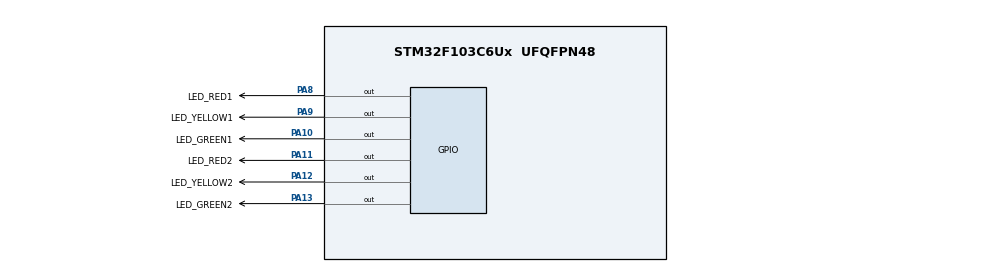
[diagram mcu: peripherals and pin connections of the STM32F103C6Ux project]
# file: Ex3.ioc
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Mcu.Family=STM32F1
Mcu.Name=STM32F103C6Ux
Mcu.Package=UFQFPN48
NVIC.PriorityGroup=NVIC_PRIORITYGROUP_4
PA10.GPIO_Label=LED_GREEN1
PA10.Signal=GPIO_Output
PA11.GPIO_Label=LED_RED2
PA11.Signal=GPIO_Output
PA12.GPIO_Label=LED_YELLOW2
PA12.Signal=GPIO_Output
PA13.GPIO_Label=LED_GREEN2
PA13.Signal=GPIO_Output
PA8.GPIO_Label=LED_RED1
PA8.Signal=GPIO_Output
PA9.GPIO_Label=LED_YELLOW1
PA9.Signal=GPIO_Output
ProjectManager.HeapSize=0x200
ProjectManager.StackSize=0x400
ProjectManager.TargetToolchain=STM32CubeIDE
RCC.APB1Freq_Value=8000000
RCC.APB2Freq_Value=8000000
VP_SYS_VS_ND.Mode=No_Debug
board=custom

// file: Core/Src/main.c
/* USER CODE BEGIN Header */
/**
  ******************************************************************************
  * @file           : main.c
  * @brief          : Main program body
  ******************************************************************************
  * @attention
  *
  * <h2><center>&copy; Copyright (c) 2023 STMicroelectronics.
  * All rights reserved.</center></h2>
  *
  * This software component is licensed by ST under BSD 3-Clause license,
  * the "License"; You may not use this file except in compliance with the
  * License. You may obtain a copy of the License at:
  *                        opensource.org/licenses/BSD-3-Clause
  *
  ******************************************************************************
  */
/* USER CODE END Header */
#include "main.h"

void SystemClock_Config(void);
static void MX_GPIO_Init(void);

int main(void)
{

  /* MCU Configuration--------------------------------------------------------*/

  /* Reset of all peripherals, Initializes the Flash interface and the Systick. */
  HAL_Init();

  /* Configure the system clock */
  SystemClock_Config();

  /* Initialize all configured peripherals */
  MX_GPIO_Init();

  /* Infinite loop */
  /* USER CODE BEGIN WHILE */
  enum trafficlightState{
	  RED1_GREEN2,
	  RED1_YELLOW2,
	  GREEN1_RED2,
	  YELLOW1_RED2,
  };
  enum trafficlightState currentState = RED1_GREEN2;
  int counter = 3;
  while (1)
  {
	  HAL_GPIO_WritePin(LED_RED1_GPIO_Port, LED_RED1_Pin, RESET);
	  HAL_GPIO_WritePin(LED_YELLOW1_GPIO_Port, LED_YELLOW1_Pin, RESET);
	  HAL_GPIO_WritePin(LED_GREEN1_GPIO_Port, LED_GREEN1_Pin, RESET);
	  HAL_GPIO_WritePin(LED_RED2_GPIO_Port, LED_RED2_Pin, RESET);
	  HAL_GPIO_WritePin(LED_YELLOW2_GPIO_Port, LED_YELLOW2_Pin, RESET);
	  HAL_GPIO_WritePin(LED_GREEN2_GPIO_Port, LED_GREEN2_Pin, RESET);
	  switch (currentState){
	  case RED1_GREEN2:
		  HAL_GPIO_WritePin(LED_RED1_GPIO_Port, LED_RED1_Pin, SET);
		  HAL_GPIO_WritePin(LED_GREEN2_GPIO_Port, LED_GREEN2_Pin, SET);
		  counter--;
		  if (counter <= 0){
			  currentState = RED1_YELLOW2;
			  counter = 2;
		  }
		  break;
	  case RED1_YELLOW2:
		  HAL_GPIO_WritePin(LED_RED1_GPIO_Port, LED_RED1_Pin, SET);
		  HAL_GPIO_WritePin(LED_YELLOW2_GPIO_Port, LED_YELLOW2_Pin, SET);
		  counter--;
		  if (counter <= 0){
			  currentState = GREEN1_RED2;
			  counter = 3;
		  }
		  break;
	  case GREEN1_RED2:
		  HAL_GPIO_WritePin(LED_GREEN1_GPIO_Port, LED_GREEN1_Pin, SET);
		  HAL_GPIO_WritePin(LED_RED2_GPIO_Port, LED_RED2_Pin, SET);
		  counter--;
		  if (counter <= 0){
			  currentState = YELLOW1_RED2;
			  counter = 2;
		  }
		  break;
	  case YELLOW1_RED2:
		  HAL_GPIO_WritePin(LED_YELLOW1_GPIO_Port, LED_YELLOW1_Pin, SET);
		  HAL_GPIO_WritePin(LED_RED2_GPIO_Port, LED_RED2_Pin, SET);
		  counter--;
		  if (counter <= 0){
			  currentState = RED1_GREEN2;
			  counter = 3;
		  }
		  break;
	  }
	  /* if (time < 5){
		  HAL_GPIO_WritePin(LED_RED1_GPIO_Port, LED_RED1_Pin, SET);
		  if (time < 3){
			  HAL_GPIO_WritePin(LED_GREEN2_GPIO_Port, LED_GREEN2_Pin, SET);
		  }
		  else {
			  HAL_GPIO_WritePin(LED_YELLOW2_GPIO_Port, LED_YELLOW2_Pin, SET);
		  }
		  time++;
	  }
	  else if (time >= 5 && time < 8){
		  HAL_GPIO_WritePin(LED_GREEN1_GPIO_Port, LED_GREEN1_Pin, SET);
		  HAL_GPIO_WritePin(LED_RED2_GPIO_Port, LED_RED2_Pin, SET);
		  time++;
	  }
	  else if (time >= 8 && time < 10){
		  HAL_GPIO_WritePin(LED_YELLOW1_GPIO_Port, LED_YELLOW1_Pin, SET);
		  HAL_GPIO_WritePin(LED_RED2_GPIO_Port, LED_RED2_Pin, SET);
		  time++;
	  }
	  else {
		  HAL_GPIO_WritePin(LED_RED1_GPIO_Port, LED_RED1_Pin, SET);
		  HAL_GPIO_WritePin(LED_GREEN2_GPIO_Port, LED_GREEN2_Pin, SET);
		  time = 1;
	  } */
	  HAL_Delay(1000);
    /* USER CODE END WHILE */

  }
}

void SystemClock_Config(void)
{
  RCC_OscInitTypeDef RCC_OscInitStruct = {0};
  RCC_ClkInitTypeDef RCC_ClkInitStruct = {0};

  /** Initializes the RCC Oscillators according to the specified parameters
  * in the RCC_OscInitTypeDef structure.
  */
  RCC_OscInitStruct.OscillatorType = RCC_OSCILLATORTYPE_HSI;
  RCC_OscInitStruct.HSIState = RCC_HSI_ON;
  RCC_OscInitStruct.HSICalibrationValue = RCC_HSICALIBRATION_DEFAULT;
  RCC_OscInitStruct.PLL.PLLState = RCC_PLL_NONE;
  if (HAL_RCC_OscConfig(&RCC_OscInitStruct) != HAL_OK)
  {
    Error_Handler();
  }
  /** Initializes the CPU, AHB and APB buses clocks
  */
  RCC_ClkInitStruct.ClockType = RCC_CLOCKTYPE_HCLK|RCC_CLOCKTYPE_SYSCLK
                              |RCC_CLOCKTYPE_PCLK1|RCC_CLOCKTYPE_PCLK2;
  RCC_ClkInitStruct.SYSCLKSource = RCC_SYSCLKSOURCE_HSI;
  RCC_ClkInitStruct.AHBCLKDivider = RCC_SYSCLK_DIV1;
  RCC_ClkInitStruct.APB1CLKDivider = RCC_HCLK_DIV1;
  RCC_ClkInitStruct.APB2CLKDivider = RCC_HCLK_DIV1;

  if (HAL_RCC_ClockConfig(&RCC_ClkInitStruct, FLASH_LATENCY_0) != HAL_OK)
  {
    Error_Handler();
  }
}

static void MX_GPIO_Init(void)
{
  GPIO_InitTypeDef GPIO_InitStruct = {0};

  /* GPIO Ports Clock Enable */
  __HAL_RCC_GPIOA_CLK_ENABLE();

  /*Configure GPIO pin Output Level */
  HAL_GPIO_WritePin(GPIOA, LED_RED1_Pin|LED_YELLOW1_Pin|LED_GREEN1_Pin|LED_RED2_Pin
                          |LED_YELLOW2_Pin|LED_GREEN2_Pin, GPIO_PIN_RESET);

  /*Configure GPIO pins : LED_RED1_Pin LED_YELLOW1_Pin LED_GREEN1_Pin LED_RED2_Pin
                           LED_YELLOW2_Pin LED_GREEN2_Pin */
  GPIO_InitStruct.Pin = LED_RED1_Pin|LED_YELLOW1_Pin|LED_GREEN1_Pin|LED_RED2_Pin
                          |LED_YELLOW2_Pin|LED_GREEN2_Pin;
  GPIO_InitStruct.Mode = GPIO_MODE_OUTPUT_PP;
  GPIO_InitStruct.Pull = GPIO_NOPULL;
  GPIO_InitStruct.Speed = GPIO_SPEED_FREQ_LOW;
  HAL_GPIO_Init(GPIOA, &GPIO_InitStruct);

}

void Error_Handler(void)
{
  __disable_irq();
  while (1)
  {
  }
}

/************************ (C) COPYRIGHT STMicroelectronics *****END OF FILE****/
